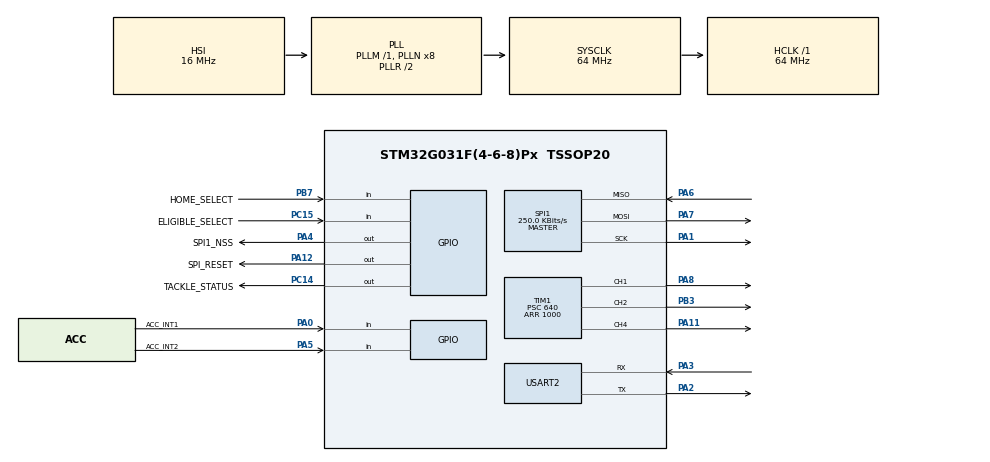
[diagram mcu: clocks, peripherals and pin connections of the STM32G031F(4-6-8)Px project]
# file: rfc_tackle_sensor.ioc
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Mcu.Family=STM32G0
PA6.Mode=Full_Duplex_Master
SH.S_TIM1_CH4.0=TIM1_CH4,PWM Generation4 CH4
RCC.CortexFreq_Value=64000000
PC14-OSC32_IN\ (PC14).GPIO_PuPd=GPIO_NOPULL
Dma.USART2_TX.0.PeriphDataAlignment=DMA_PDATAALIGN_BYTE
SPI1.VirtualType=VM_MASTER
Dma.USART2_RX.1.RequestNumber=1
PA12\ [PA10].GPIO_Label=SPI_RESET
VP_IWDG_VS_IWDG.Mode=IWDG_Activate
PA0.GPIO_Label=ACC_INT1
PA14-BOOT0.Mode=Serial_Wire
Dma.USART2_TX.0.EventEnable=DISABLE
Dma.USART2_RX.1.MemDataAlignment=DMA_MDATAALIGN_BYTE
RCC.SYSCLKSource=RCC_SYSCLKSOURCE_PLLCLK
ProjectManager.StackSize=0x400
Dma.USART2_TX.0.Priority=DMA_PRIORITY_LOW
TIM1.Prescaler=640
Dma.USART2_RX.1.SyncSignalID=NONE
TIM1.Channel-PWM\ Generation4\ CH4=TIM_CHANNEL_4
SPI1.Direction=SPI_DIRECTION_2LINES
RCC.HCLKFreq_Value=64000000
PA12\ [PA10].Signal=GPIO_Output
Dma.USART2_RX.1.PeriphInc=DMA_PINC_DISABLE
SPI1.CalculateBaudRate=250.0 KBits/s
Dma.USART2_RX.1.MemInc=DMA_MINC_ENABLE
RCC.AHBFreq_Value=64000000
PA14-BOOT0.Signal=SYS_SWCLK
RCC.HSE_VALUE=8000000
PA4.GPIO_PuPd=GPIO_NOPULL
USART2.VirtualMode-Asynchronous=VM_ASYNC
PA4.GPIO_Speed=GPIO_SPEED_FREQ_LOW
Dma.USART2_RX.1.SyncPolarity=HAL_DMAMUX_SYNC_NO_EVENT
Dma.USART2_RX.1.SyncEnable=DISABLE
TIM1.Channel-PWM\ Generation1\ CH1=TIM_CHANNEL_1
PA5.GPIO_PuPd=GPIO_NOPULL
PB7.Signal=GPIO_Input
PA8.Signal=S_TIM1_CH1
Dma.USART2_TX.0.MemDataAlignment=DMA_MDATAALIGN_BYTE
Dma.USART2_TX.0.Direction=DMA_MEMORY_TO_PERIPH
Dma.USART2_TX.0.Instance=DMA1_Channel1
PA0.Signal=GPIO_Input
PB7.GPIO_Label=HOME_SELECT
Mcu.Package=TSSOP20
PA6.Signal=SPI1_MISO
PC14-OSC32_IN\ (PC14).PinState=GPIO_PIN_RESET
PA0.GPIO_PuPd=GPIO_NOPULL
Dma.USART2_TX.0.RequestNumber=1
PA4.GPIO_ModeDefaultOutputPP=GPIO_MODE_OUTPUT_PP
PC14-OSC32_IN\ (PC14).GPIO_ModeDefaultOutputPP=GPIO_MODE_OUTPUT_PP
Dma.USART2_TX.0.Mode=DMA_NORMAL
Dma.USART2_RX.1.SyncRequestNumber=1
Dma.Request1=USART2_RX
Dma.USART2_TX.0.SyncPolarity=HAL_DMAMUX_SYNC_NO_EVENT
TIM1.Period=1000
TIM16.Prescaler=64000
Dma.USART2_RX.1.Mode=DMA_NORMAL
Dma.Request0=USART2_TX
SPI1.BaudRatePrescaler=SPI_BAUDRATEPRESCALER_256
PA4.GPIO_Label=SPI1_NSS
PA3.Signal=USART2_RX
Dma.USART2_RX.1.Priority=DMA_PRIORITY_LOW
PC15-OSC32_OUT\ (PC15).GPIO_Label=ELIGIBLE_SELECT
PA7.Mode=Full_Duplex_Master
Dma.USART2_TX.0.MemInc=DMA_MINC_ENABLE
Dma.USART2_RX.1.SignalID=NONE
PA0.GPIO_Mode=GPIO_MODE_INPUT
RCC.EXTERNAL_CLOCK_VALUE=12288000
PC15-OSC32_OUT\ (PC15).Signal=GPIO_Input
VP_TIM16_VS_ClockSourceINT.Mode=Enable_Timer
NVIC.TIM16_IRQn=true\:0\:0\:false\:false\:true\:true\:true
NVIC.USART2_IRQn=true\:0\:0\:false\:false\:true\:true\:true
PC14-OSC32_IN\ (PC14).GPIO_Label=TACKLE_STATUS
PA13.Signal=SYS_SWDIO
PA3.Mode=Asynchronous
SH.S_TIM1_CH1.0=TIM1_CH1,PWM Generation1 CH1
PA4.PinState=GPIO_PIN_RESET
ProjectManager.TargetToolchain=STM32CubeIDE
TIM1.Channel-PWM\ Generation2\ CH2=TIM_CHANNEL_2
RCC.LSE_VALUE=32768
PA1.Signal=SPI1_SCK
Dma.USART2_RX.1.Instance=DMA1_Channel2
Dma.USART2_RX.1.Direction=DMA_PERIPH_TO_MEMORY
PA5.Signal=GPIO_Input
Dma.USART2_RX.1.PeriphDataAlignment=DMA_PDATAALIGN_BYTE
board=custom
Dma.USART2_TX.0.SyncSignalID=NONE
RCC.VCOOutputFreq_Value=128000000
TIM16.Period=50
PA1.Mode=Full_Duplex_Master
SH.S_TIM1_CH2.0=TIM1_CH2,PWM Generation2 CH2
SPI1.Mode=SPI_MODE_MASTER
Dma.USART2_RX.1.EventEnable=DISABLE
Dma.USART2_TX.0.Polarity=HAL_DMAMUX_REQ_GEN_RISING
RCC.ADCFreq_Value=64000000
PA13.Mode=Serial_Wire
Mcu.Name=STM32G031F(4-6-8)Px
PA11\ [PA9].Signal=S_TIM1_CH4
PA2.Signal=USART2_TX
PB3.Signal=S_TIM1_CH2
PA4.Signal=GPIO_Output
RCC.SYSCLKFreq_VALUE=64000000
Dma.USART2_TX.0.SyncRequestNumber=1
Dma.USART2_RX.1.Polarity=HAL_DMAMUX_REQ_GEN_RISING
Dma.USART2_TX.0.PeriphInc=DMA_PINC_DISABLE
PA5.GPIO_Label=ACC_INT2
Dma.USART2_TX.0.SignalID=NONE
PC14-OSC32_IN\ (PC14).Signal=GPIO_Output
ProjectManager.HeapSize=0x200
RCC.HSI_VALUE=16000000
IWDG.Prescaler=IWDG_PRESCALER_256
NVIC.DMA1_Channel2_3_IRQn=true\:0\:0\:false\:false\:true\:false\:true
PA2.Mode=Asynchronous
NVIC.DMA1_Channel1_IRQn=true\:0\:0\:false\:false\:true\:false\:true
PA5.GPIO_Mode=GPIO_MODE_INPUT
Dma.USART2_TX.0.SyncEnable=DISABLE
PC14-OSC32_IN\ (PC14).GPIO_Speed=GPIO_SPEED_FREQ_LOW
PA7.Signal=SPI1_MOSI

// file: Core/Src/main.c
/* USER CODE BEGIN Header */
/**
  ******************************************************************************
  * @file           : main.c
  * @brief          : Main program body
  ******************************************************************************
  * @attention
  *
  * <h2><center>&copy; Copyright (c) 2022 STMicroelectronics.
  * All rights reserved.</center></h2>
  *
  * This software component is licensed by ST under BSD 3-Clause license,
  * the "License"; You may not use this file except in compliance with the
  * License. You may obtain a copy of the License at:
  *                        opensource.org/licenses/BSD-3-Clause
  *
  ******************************************************************************
  */
/* USER CODE END Header */

#include "main.h"

/* USER CODE BEGIN Includes */
#include <stdio.h>
#include <stdlib.h>
#include "lis2de12_reg.h"
#include "RGBLed.h"
#include "Accelerometer.h"
#include "UserTimer.h"
#include "SerialCommands.h"
#include "Settings.h"
#include "fw_version.h"
#include <string.h>
#include <stdio.h>
#include "MinMaxTracker.h"
#include "Utilities.h"
/* USER CODE END Includes */

/* USER CODE BEGIN PD */
#define TACKLE_THRESHOLD 6000.0f // mg
const float accel_filter_alpha = 0.80f;
/* USER CODE END PD */

IWDG_HandleTypeDef hiwdg;

SPI_HandleTypeDef hspi1;

TIM_HandleTypeDef htim1;
TIM_HandleTypeDef htim16;

UART_HandleTypeDef huart2;
DMA_HandleTypeDef hdma_usart2_tx;
DMA_HandleTypeDef hdma_usart2_rx;

/* USER CODE BEGIN PV */
UserTimer timer_ctx = {0};
SerialCommands command_ctx = {0};
uint8_t rx_buff[50] = {0};
void uart_dma_transfer_complete(DMA_HandleTypeDef *_hdma);
MinMaxTracker accel_x_min_max = {0};
MinMaxTracker accel_y_min_max = {0};
/* USER CODE END PV */

void SystemClock_Config(void);
static void MX_GPIO_Init(void);
static void MX_DMA_Init(void);
static void MX_SPI1_Init(void);
static void MX_USART2_UART_Init(void);
static void MX_IWDG_Init(void);
static void MX_TIM1_Init(void);
static void MX_TIM16_Init(void);

/* USER CODE BEGIN 0 */

void SetRGBValue(const char* msg, uint32_t msg_len);
void SetFadeEnable(const char* msg, uint32_t msg_len);
void GetAcceleration(const char* msg, uint32_t msg_len);
void GetAccelMagRange(const char* msg, uint32_t msglen);
void GetHomeAwayStatus(const char* msg, uint32_t msg_len);
void GetEligibleStatus(const char* msg, uint32_t msg_len);
void GetTackledStatus(const char* msg, uint32_t msg_len);
void GetFirmwareVersion(const char* msg, uint32_t msg_len);

#define NUM_COMMANDS	8
const Command commands[NUM_COMMANDS] = {
    {
        .command_str = "l",
        .command_func = SetRGBValue
    },
	{
		.command_str = "f",
		.command_func = SetFadeEnable
	},
	{
		.command_str = "a",
		.command_func = GetAcceleration
	},
	{
		.command_str = "r",
		.command_func = GetAccelMagRange
	},
	{
		.command_str = "h",
		.command_func = GetHomeAwayStatus
	},
	{
		.command_str = "e",
		.command_func = GetEligibleStatus
	},
	{
		.command_str = "t",
		.command_func = GetTackledStatus
	},
	{
		.command_str = "v",
		.command_func = GetFirmwareVersion
	},
};
/* USER CODE END 0 */

int main(void)
{

  /* MCU Configuration--------------------------------------------------------*/

  /* Reset of all peripherals, Initializes the Flash interface and the Systick. */
  HAL_Init();

  /* USER CODE BEGIN Init */
  MinMaxTracker_Reset(&accel_x_min_max);
  MinMaxTracker_Reset(&accel_y_min_max);

  /* USER CODE END Init */

  /* Configure the system clock */
  SystemClock_Config();

  /* Initialize all configured peripherals */
  MX_GPIO_Init();
  MX_DMA_Init();
  MX_SPI1_Init();
  MX_USART2_UART_Init();
  MX_IWDG_Init();
  MX_TIM1_Init();
  MX_TIM16_Init();
  /* USER CODE BEGIN 2 */
  printf("Robotic Football Tackle Sensor\n");
  printf("Version: %d.%d.%d\n", FW_MAJOR_VER, FW_MINOR_VER, FW_PATCH_VER);
  Settings_Init();
  if( !Accelerometer_Init() )
  {
	  printf("Failed to initialize accelerometer.\n");
  }

  RGBLed_Init();
  UserTimer_Init(&timer_ctx, 2000);
  SerialCommands_Init(&command_ctx, commands, NUM_COMMANDS, "\n");

  /* USER CODE END 2 */

  /* Infinite loop */
  /* USER CODE BEGIN WHILE */
  Accelerometer_Data data = {0};
  float smoothed_data_x = 0;
  float smoothed_data_y = 0;
  while (1)
  {
    /* USER CODE END WHILE */

    /* USER CODE BEGIN 3 */
	  HAL_IWDG_Refresh(&hiwdg);
	  if( Accelerometer_Update() )
	  {
		  // New Data

			Accelerometer_GetData( &data );

			// Run raw readings through IIRFilter
			smoothed_data_x = IIRFilter( data.x/8000.0f, smoothed_data_x/8000.0f, accel_filter_alpha)*8000.0f;
			smoothed_data_y = IIRFilter( data.y/8000.0f, smoothed_data_y/8000.0f, accel_filter_alpha)*8000.0f;

			// Update MinMaxTracker
			MinMaxTracker_Update(&accel_x_min_max, smoothed_data_x);
			MinMaxTracker_Update(&accel_y_min_max, smoothed_data_y);

			if( fabsf(smoothed_data_x) > TACKLE_THRESHOLD
			  || fabsf(smoothed_data_y) > TACKLE_THRESHOLD )
			{
			  UserTimer_Start(&timer_ctx);
			}
	  }

	  bool is_tackled = UserTimer_GetActive(&timer_ctx);

	  if(HAL_GPIO_ReadPin(ELIGIBLE_SELECT_GPIO_Port, ELIGIBLE_SELECT_Pin) == GPIO_PIN_SET)
	  {
		  // In-eligible Receiver
		  if( Settings_GetFade() )
		  {
			  // Fade Mode
			  RGBLed_EnablePulse();
			  if(HAL_GPIO_ReadPin(HOME_SELECT_GPIO_Port, HOME_SELECT_Pin) == GPIO_PIN_RESET)
			  {
				  // Home
				  uint8_t r = Settings_GetHomeRed();
				  uint8_t g = Settings_GetHomeGreen();
				  uint8_t b = Settings_GetHomeBlue();
				  RGBLed_SetManual(r, g, b, false);
			  }
			  else
			  {
				  // Away
				  RGBLed_SetWhite(false);
			  }
		  }
		  else
		  {
			  // Off Mode
			  RGBLed_DisablePulse();
			  RGBLed_SetOff();
		  }
		  HAL_GPIO_WritePin(TACKLE_STATUS_GPIO_Port, TACKLE_STATUS_Pin, GPIO_PIN_SET);
	  }
	  else
	  {
		  // Eligible Receiver
		  RGBLed_DisablePulse();
		  if( is_tackled )
		  {
			  RGBLed_SetRed(true);
			  HAL_GPIO_WritePin(TACKLE_STATUS_GPIO_Port, TACKLE_STATUS_Pin, GPIO_PIN_RESET);
		  }
		  else
		  {
			  if(HAL_GPIO_ReadPin(HOME_SELECT_GPIO_Port, HOME_SELECT_Pin) == GPIO_PIN_RESET)
			  {
				  // Home
				  uint8_t r = Settings_GetHomeRed();
				  uint8_t g = Settings_GetHomeGreen();
				  uint8_t b = Settings_GetHomeBlue();
				  RGBLed_SetManual(r, g, b, true);
			  }
			  else
			  {
				  // Away
				  RGBLed_SetWhite(true);
			  }
			  HAL_GPIO_WritePin(TACKLE_STATUS_GPIO_Port, TACKLE_STATUS_Pin, GPIO_PIN_SET);
		  }
	  }
	  // Process serial commands from main context
	  SerialCommands_Process(&command_ctx);
  }
  /* USER CODE END 3 */
}

void SystemClock_Config(void)
{
  RCC_OscInitTypeDef RCC_OscInitStruct = {0};
  RCC_ClkInitTypeDef RCC_ClkInitStruct = {0};
  RCC_PeriphCLKInitTypeDef PeriphClkInit = {0};

  /** Configure the main internal regulator output voltage
  */
  HAL_PWREx_ControlVoltageScaling(PWR_REGULATOR_VOLTAGE_SCALE1);
  /** Initializes the CPU, AHB and APB busses clocks
  */
  RCC_OscInitStruct.OscillatorType = RCC_OSCILLATORTYPE_HSI|RCC_OSCILLATORTYPE_LSI;
  RCC_OscInitStruct.HSIState = RCC_HSI_ON;
  RCC_OscInitStruct.HSIDiv = RCC_HSI_DIV1;
  RCC_OscInitStruct.HSICalibrationValue = RCC_HSICALIBRATION_DEFAULT;
  RCC_OscInitStruct.LSIState = RCC_LSI_ON;
  RCC_OscInitStruct.PLL.PLLState = RCC_PLL_ON;
  RCC_OscInitStruct.PLL.PLLSource = RCC_PLLSOURCE_HSI;
  RCC_OscInitStruct.PLL.PLLM = RCC_PLLM_DIV1;
  RCC_OscInitStruct.PLL.PLLN = 8;
  RCC_OscInitStruct.PLL.PLLP = RCC_PLLP_DIV2;
  RCC_OscInitStruct.PLL.PLLQ = RCC_PLLQ_DIV2;
  RCC_OscInitStruct.PLL.PLLR = RCC_PLLR_DIV2;
  if (HAL_RCC_OscConfig(&RCC_OscInitStruct) != HAL_OK)
  {
    Error_Handler();
  }
  /** Initializes the CPU, AHB and APB busses clocks
  */
  RCC_ClkInitStruct.ClockType = RCC_CLOCKTYPE_HCLK|RCC_CLOCKTYPE_SYSCLK
                              |RCC_CLOCKTYPE_PCLK1;
  RCC_ClkInitStruct.SYSCLKSource = RCC_SYSCLKSOURCE_PLLCLK;
  RCC_ClkInitStruct.AHBCLKDivider = RCC_SYSCLK_DIV1;
  RCC_ClkInitStruct.APB1CLKDivider = RCC_HCLK_DIV1;

  if (HAL_RCC_ClockConfig(&RCC_ClkInitStruct, FLASH_LATENCY_2) != HAL_OK)
  {
    Error_Handler();
  }
  /** Initializes the peripherals clocks
  */
  PeriphClkInit.PeriphClockSelection = RCC_PERIPHCLK_TIM1;
  PeriphClkInit.Tim1ClockSelection = RCC_TIM1CLKSOURCE_PCLK1;
  if (HAL_RCCEx_PeriphCLKConfig(&PeriphClkInit) != HAL_OK)
  {
    Error_Handler();
  }
}

static void MX_IWDG_Init(void)
{

  hiwdg.Instance = IWDG;
  hiwdg.Init.Prescaler = IWDG_PRESCALER_256;
  hiwdg.Init.Window = 4095;
  hiwdg.Init.Reload = 4095;
  if (HAL_IWDG_Init(&hiwdg) != HAL_OK)
  {
    Error_Handler();
  }

}

static void MX_SPI1_Init(void)
{

  /* SPI1 parameter configuration*/
  hspi1.Instance = SPI1;
  hspi1.Init.Mode = SPI_MODE_MASTER;
  hspi1.Init.Direction = SPI_DIRECTION_2LINES;
  hspi1.Init.DataSize = SPI_DATASIZE_8BIT;
  hspi1.Init.CLKPolarity = SPI_POLARITY_LOW;
  hspi1.Init.CLKPhase = SPI_PHASE_1EDGE;
  hspi1.Init.NSS = SPI_NSS_SOFT;
  hspi1.Init.BaudRatePrescaler = SPI_BAUDRATEPRESCALER_256;
  hspi1.Init.FirstBit = SPI_FIRSTBIT_MSB;
  hspi1.Init.TIMode = SPI_TIMODE_DISABLE;
  hspi1.Init.CRCCalculation = SPI_CRCCALCULATION_DISABLE;
  hspi1.Init.CRCPolynomial = 7;
  hspi1.Init.CRCLength = SPI_CRC_LENGTH_DATASIZE;
  hspi1.Init.NSSPMode = SPI_NSS_PULSE_ENABLE;
  if (HAL_SPI_Init(&hspi1) != HAL_OK)
  {
    Error_Handler();
  }

}

static void MX_TIM1_Init(void)
{

  TIM_MasterConfigTypeDef sMasterConfig = {0};
  TIM_OC_InitTypeDef sConfigOC = {0};
  TIM_BreakDeadTimeConfigTypeDef sBreakDeadTimeConfig = {0};

  htim1.Instance = TIM1;
  htim1.Init.Prescaler = 640;
  htim1.Init.CounterMode = TIM_COUNTERMODE_UP;
  htim1.Init.Period = 1000;
  htim1.Init.ClockDivision = TIM_CLOCKDIVISION_DIV1;
  htim1.Init.RepetitionCounter = 0;
  htim1.Init.AutoReloadPreload = TIM_AUTORELOAD_PRELOAD_DISABLE;
  if (HAL_TIM_PWM_Init(&htim1) != HAL_OK)
  {
    Error_Handler();
  }
  sMasterConfig.MasterOutputTrigger = TIM_TRGO_RESET;
  sMasterConfig.MasterOutputTrigger2 = TIM_TRGO2_RESET;
  sMasterConfig.MasterSlaveMode = TIM_MASTERSLAVEMODE_DISABLE;
  if (HAL_TIMEx_MasterConfigSynchronization(&htim1, &sMasterConfig) != HAL_OK)
  {
    Error_Handler();
  }
  sConfigOC.OCMode = TIM_OCMODE_PWM1;
  sConfigOC.Pulse = 0;
  sConfigOC.OCPolarity = TIM_OCPOLARITY_HIGH;
  sConfigOC.OCNPolarity = TIM_OCNPOLARITY_HIGH;
  sConfigOC.OCFastMode = TIM_OCFAST_DISABLE;
  sConfigOC.OCIdleState = TIM_OCIDLESTATE_RESET;
  sConfigOC.OCNIdleState = TIM_OCNIDLESTATE_RESET;
  if (HAL_TIM_PWM_ConfigChannel(&htim1, &sConfigOC, TIM_CHANNEL_1) != HAL_OK)
  {
    Error_Handler();
  }
  if (HAL_TIM_PWM_ConfigChannel(&htim1, &sConfigOC, TIM_CHANNEL_2) != HAL_OK)
  {
    Error_Handler();
  }
  if (HAL_TIM_PWM_ConfigChannel(&htim1, &sConfigOC, TIM_CHANNEL_4) != HAL_OK)
  {
    Error_Handler();
  }
  sBreakDeadTimeConfig.OffStateRunMode = TIM_OSSR_DISABLE;
  sBreakDeadTimeConfig.OffStateIDLEMode = TIM_OSSI_DISABLE;
  sBreakDeadTimeConfig.LockLevel = TIM_LOCKLEVEL_OFF;
  sBreakDeadTimeConfig.DeadTime = 0;
  sBreakDeadTimeConfig.BreakState = TIM_BREAK_DISABLE;
  sBreakDeadTimeConfig.BreakPolarity = TIM_BREAKPOLARITY_HIGH;
  sBreakDeadTimeConfig.BreakFilter = 0;
  sBreakDeadTimeConfig.BreakAFMode = TIM_BREAK_AFMODE_INPUT;
  sBreakDeadTimeConfig.Break2State = TIM_BREAK2_DISABLE;
  sBreakDeadTimeConfig.Break2Polarity = TIM_BREAK2POLARITY_HIGH;
  sBreakDeadTimeConfig.Break2Filter = 0;
  sBreakDeadTimeConfig.Break2AFMode = TIM_BREAK_AFMODE_INPUT;
  sBreakDeadTimeConfig.AutomaticOutput = TIM_AUTOMATICOUTPUT_DISABLE;
  if (HAL_TIMEx_ConfigBreakDeadTime(&htim1, &sBreakDeadTimeConfig) != HAL_OK)
  {
    Error_Handler();
  }
  HAL_TIM_MspPostInit(&htim1);

}

static void MX_TIM16_Init(void)
{

  htim16.Instance = TIM16;
  htim16.Init.Prescaler = 64000;
  htim16.Init.CounterMode = TIM_COUNTERMODE_UP;
  htim16.Init.Period = 50;
  htim16.Init.ClockDivision = TIM_CLOCKDIVISION_DIV1;
  htim16.Init.RepetitionCounter = 0;
  htim16.Init.AutoReloadPreload = TIM_AUTORELOAD_PRELOAD_DISABLE;
  if (HAL_TIM_Base_Init(&htim16) != HAL_OK)
  {
    Error_Handler();
  }
  /* USER CODE BEGIN TIM16_Init 2 */
  HAL_TIM_Base_Start_IT(&htim16);

  /* USER CODE END TIM16_Init 2 */

}

static void MX_USART2_UART_Init(void)
{

  huart2.Instance = USART2;
  huart2.Init.BaudRate = 115200;
  huart2.Init.WordLength = UART_WORDLENGTH_8B;
  huart2.Init.StopBits = UART_STOPBITS_1;
  huart2.Init.Parity = UART_PARITY_NONE;
  huart2.Init.Mode = UART_MODE_TX_RX;
  huart2.Init.HwFlowCtl = UART_HWCONTROL_NONE;
  huart2.Init.OverSampling = UART_OVERSAMPLING_16;
  huart2.Init.OneBitSampling = UART_ONE_BIT_SAMPLE_DISABLE;
  huart2.Init.ClockPrescaler = UART_PRESCALER_DIV1;
  huart2.AdvancedInit.AdvFeatureInit = UART_ADVFEATURE_NO_INIT;
  if (HAL_UART_Init(&huart2) != HAL_OK)
  {
    Error_Handler();
  }
  /* USER CODE BEGIN USART2_Init 2 */

  HAL_DMA_RegisterCallback(&hdma_usart2_rx, HAL_DMA_XFER_CPLT_CB_ID, uart_dma_transfer_complete);

  __HAL_UART_CLEAR_IT(&huart2, UART_CLEAR_IDLEF);
  __HAL_UART_ENABLE_IT(&huart2, UART_IT_IDLE);

  HAL_UART_Receive_DMA(&huart2, rx_buff, sizeof(rx_buff));
  /* USER CODE END USART2_Init 2 */

}

static void MX_DMA_Init(void)
{

  /* DMA controller clock enable */
  __HAL_RCC_DMA1_CLK_ENABLE();

  /* DMA interrupt init */
  /* DMA1_Channel1_IRQn interrupt configuration */
  HAL_NVIC_SetPriority(DMA1_Channel1_IRQn, 0, 0);
  HAL_NVIC_EnableIRQ(DMA1_Channel1_IRQn);
  /* DMA1_Channel2_3_IRQn interrupt configuration */
  HAL_NVIC_SetPriority(DMA1_Channel2_3_IRQn, 0, 0);
  HAL_NVIC_EnableIRQ(DMA1_Channel2_3_IRQn);

}

static void MX_GPIO_Init(void)
{
  GPIO_InitTypeDef GPIO_InitStruct = {0};

  /* GPIO Ports Clock Enable */
  __HAL_RCC_GPIOB_CLK_ENABLE();
  __HAL_RCC_GPIOC_CLK_ENABLE();
  __HAL_RCC_GPIOA_CLK_ENABLE();

  /*Configure GPIO pin Output Level */
  HAL_GPIO_WritePin(TACKLE_STATUS_GPIO_Port, TACKLE_STATUS_Pin, GPIO_PIN_RESET);

  /*Configure GPIO pin Output Level */
  HAL_GPIO_WritePin(GPIOA, SPI1_NSS_Pin|SPI_RESET_Pin, GPIO_PIN_RESET);

  /*Configure GPIO pin : HOME_SELECT_Pin */
  GPIO_InitStruct.Pin = HOME_SELECT_Pin;
  GPIO_InitStruct.Mode = GPIO_MODE_INPUT;
  GPIO_InitStruct.Pull = GPIO_NOPULL;
  HAL_GPIO_Init(HOME_SELECT_GPIO_Port, &GPIO_InitStruct);

  /*Configure GPIO pin : TACKLE_STATUS_Pin */
  GPIO_InitStruct.Pin = TACKLE_STATUS_Pin;
  GPIO_InitStruct.Mode = GPIO_MODE_OUTPUT_PP;
  GPIO_InitStruct.Pull = GPIO_NOPULL;
  GPIO_InitStruct.Speed = GPIO_SPEED_FREQ_LOW;
  HAL_GPIO_Init(TACKLE_STATUS_GPIO_Port, &GPIO_InitStruct);

  /*Configure GPIO pin : ELIGIBLE_SELECT_Pin */
  GPIO_InitStruct.Pin = ELIGIBLE_SELECT_Pin;
  GPIO_InitStruct.Mode = GPIO_MODE_INPUT;
  GPIO_InitStruct.Pull = GPIO_NOPULL;
  HAL_GPIO_Init(ELIGIBLE_SELECT_GPIO_Port, &GPIO_InitStruct);

  /*Configure GPIO pins : ACC_INT1_Pin ACC_INT2_Pin */
  GPIO_InitStruct.Pin = ACC_INT1_Pin|ACC_INT2_Pin;
  GPIO_InitStruct.Mode = GPIO_MODE_INPUT;
  GPIO_InitStruct.Pull = GPIO_NOPULL;
  HAL_GPIO_Init(GPIOA, &GPIO_InitStruct);

  /*Configure GPIO pins : SPI1_NSS_Pin SPI_RESET_Pin */
  GPIO_InitStruct.Pin = SPI1_NSS_Pin|SPI_RESET_Pin;
  GPIO_InitStruct.Mode = GPIO_MODE_OUTPUT_PP;
  GPIO_InitStruct.Pull = GPIO_NOPULL;
  GPIO_InitStruct.Speed = GPIO_SPEED_FREQ_LOW;
  HAL_GPIO_Init(GPIOA, &GPIO_InitStruct);

}

/* USER CODE BEGIN 4 */
int __io_putchar(int ch)
{
	HAL_UART_Transmit(&huart2, (uint8_t *)&ch, 1, HAL_MAX_DELAY);
	return ch;
}

// Parses Message received in the format <red>,<green>,<blue>
void SetRGBValue(const char* msg, uint32_t msg_len)
{
	int r, g, b = 0;
	int count = sscanf(msg, ":%d,%d,%d\n", &r, &g, &b );
	if( count == 3 )
	{
		r = Clamp( r, 0, 255 );
		g = Clamp( g, 0, 255 );
		b = Clamp( b, 0, 255 );
		Settings_SetHomeRedGreenBlue(r,g,b);
	}
	printf( "l:%d,%d,%d\n", Settings_GetHomeRed(), Settings_GetHomeGreen(), Settings_GetHomeBlue() );
}

// Parses Message received in the format <fade_enable>
void SetFadeEnable(const char* msg, uint32_t msg_len)
{
	int fade = 0;
	int count = sscanf(msg, ":%d\n", &fade );
	if( count == 1 )
	{
		fade = Clamp( fade, 0, 1 );
		Settings_SetFade( fade );
	}
	printf( "f:%d\n", Settings_GetFade() );
}

void GetAcceleration(const char* msg, uint32_t msg_len)
{
	Accelerometer_Data data = {0};
	Accelerometer_GetData( &data );
	printf( "a:%d,%d,%d\n", (int)data.x, (int)data.y, (int)data.z );
}

void GetAccelMagRange(const char* msg, uint32_t msg_len)
{
	// Grab the min and max since the last update
	int xmin = (int)MinMaxTracker_getMin(&accel_x_min_max);
	int xmax = (int)MinMaxTracker_getMax(&accel_x_min_max);
	int ymin = (int)MinMaxTracker_getMin(&accel_y_min_max);
	int ymax = (int)MinMaxTracker_getMax(&accel_y_min_max);
	// Reset
	MinMaxTracker_Reset(&accel_x_min_max);
	MinMaxTracker_Reset(&accel_y_min_max);
	printf( "r:%d,%d,%d,%d\n", xmin, xmax, ymin, ymax);
}

void GetHomeAwayStatus(const char* msg, uint32_t msg_len)
{
	bool home = (HAL_GPIO_ReadPin(HOME_SELECT_GPIO_Port, HOME_SELECT_Pin) == GPIO_PIN_RESET);
	printf("h:%s\n", home ? "1" : "0");
}

void GetEligibleStatus(const char* msg, uint32_t msg_len)
{
	bool eligible = (HAL_GPIO_ReadPin(ELIGIBLE_SELECT_GPIO_Port, ELIGIBLE_SELECT_Pin) == GPIO_PIN_RESET);
	printf("e:%s\n", eligible ? "1" : "0");
}

void GetTackledStatus(const char* msg, uint32_t msg_len)
{
	bool is_tackled = UserTimer_GetActive(&timer_ctx);
	printf("t:%s\n", is_tackled ? "1" : "0");
}

void GetFirmwareVersion(const char* msg, uint32_t msg_len)
{
	printf("v:%d.%d.%d\n", FW_MAJOR_VER, FW_MINOR_VER, FW_PATCH_VER );
}

void uart_dma_transfer_complete(DMA_HandleTypeDef *_hdma)
{
	uint32_t data_size = sizeof(rx_buff) - __HAL_DMA_GET_COUNTER(&hdma_usart2_rx);
	if( data_size > 0 )
	{
		SerialCommands_ReceiveMessage(&command_ctx, (const char*)rx_buff, data_size);
	}
	HAL_UART_AbortReceive(&huart2);
	HAL_UART_Receive_DMA(&huart2, rx_buff, sizeof(rx_buff));
}

void UART2IdleCallback()
{
	uart_dma_transfer_complete(&hdma_usart2_rx);
}

/* USER CODE END 4 */

void Error_Handler(void)
{
}

/************************ (C) COPYRIGHT STMicroelectronics *****END OF FILE****/
